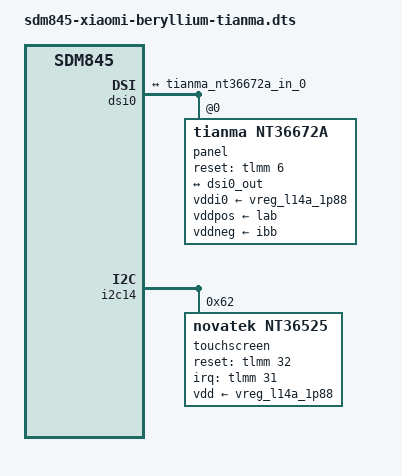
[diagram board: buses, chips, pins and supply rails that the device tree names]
// SPDX-License-Identifier: GPL-2.0

/dts-v1/;

#include "sdm845-xiaomi-beryllium-common.dtsi"

&dsi0 {
	status = "okay";
	vdda-supply = <&vdda_mipi_dsi0_1p2>;

	ports {
		port@1 {
			endpoint {
				remote-endpoint = <&tianma_nt36672a_in_0>;
				data-lanes = <0 1 2 3>;
			};
		};
	};

	panel@0 {
		compatible = "tianma,nt36672a";
		reg = <0>;
		vddi0-supply = <&vreg_l14a_1p88>;
		vddpos-supply = <&lab>;
		vddneg-supply = <&ibb>;

		reset-gpios = <&tlmm 6 GPIO_ACTIVE_HIGH>;

		pinctrl-names = "panel_active", "panel_suspend";
		pinctrl-0 = <&sde_dsi_active>;
		pinctrl-1 = <&sde_dsi_suspend>;

		ports {
			#address-cells = <1>;
			#size-cells = <0>;

			port@0 {
				reg = <0>;
				tianma_nt36672a_in_0: endpoint {
					remote-endpoint = <&dsi0_out>;
				};
			};
		};
	};
};

&i2c14 {
	status="okay";

	dmas =  <&gpi_dma1 0 6 QCOM_GPI_I2C>,
		<&gpi_dma1 1 6 QCOM_GPI_I2C>;
	dma-names = "tx", "rx";

	touchscreen: novatek@62 {
		compatible = "novatek,nt36525"; /* Should be novatek,nt36672A instead #TODO */
		reg = <0x62>;
		vdd-supply = <&vreg_l14a_1p88>;
		interrupt-parent = <&tlmm>;
		interrupts = <31 IRQ_TYPE_EDGE_RISING>;
		reset-gpio = <&tlmm 32 0x00 /* GPIO_ACTIVE_HIGH */ >;
	};

};
